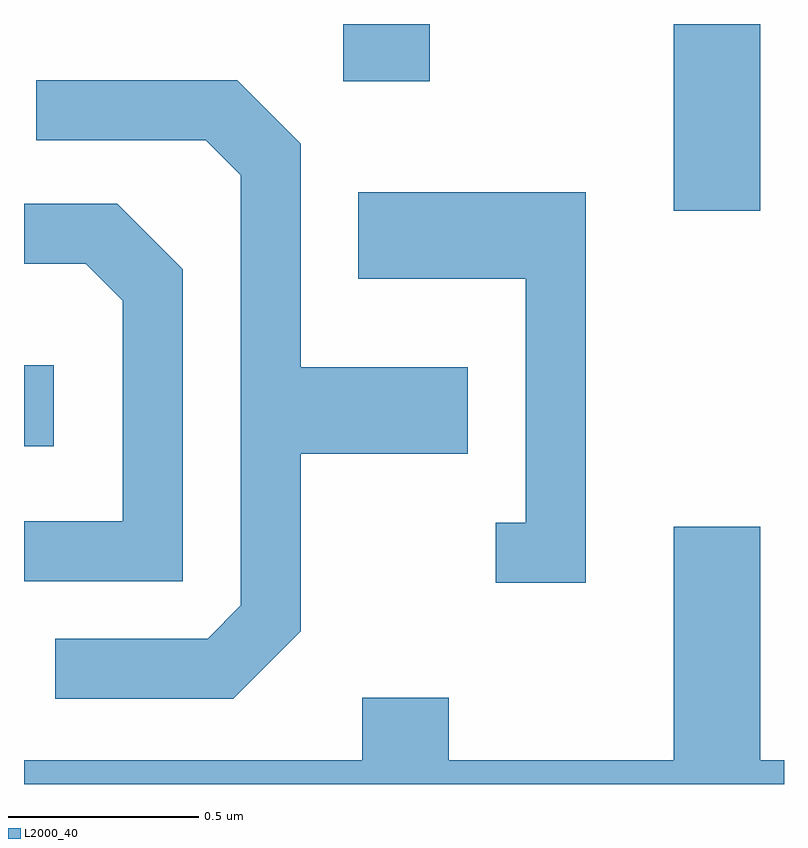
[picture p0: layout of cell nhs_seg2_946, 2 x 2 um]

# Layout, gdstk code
import gdstk
lib = gdstk.Library(unit=1e-6, precision=1e-09)
def R(c, l, rs):  # rectangles x0, y0, x1, y1
    for r in rs: c.add(gdstk.rectangle(r[:2], r[2:], *l))
def P(c, l, *ps):  # polygons
    for p in ps: c.add(gdstk.Polygon(p, *l))
L2000_40 = (2000, 40)

nhs_seg2_946 = lib.new_cell('nhs_seg2_946')
R(nhs_seg2_946, L2000_40, [(191.611,1102.691,191.689,1102.904), (193.321,1103.311,193.549,1103.802), (192.451,1103.651,192.679,1103.802)])
P(nhs_seg2_946, L2000_40, [(192.339,1102.204),(192.339,1102.671),(192.779,1102.671),(192.779,1102.899),(192.339,1102.899),(192.339,1103.487),(192.172,1103.654),(191.643,1103.654),(191.643,1103.496),(192.089,1103.496),(192.181,1103.404),(192.181,1102.272),(192.094,1102.184),(191.693,1102.184),(191.693,1102.026),(192.162,1102.026)],
  [(193.089,1103.359),(192.491,1103.359),(192.491,1103.131),(192.931,1103.131),(192.931,1102.489),(192.853,1102.489),(192.853,1102.331),(193.089,1102.331)],
  [(192.029,1103.157),(191.857,1103.329),(191.611,1103.329),(191.611,1103.171),(191.774,1103.171),(191.871,1103.074),(191.871,1102.494),(191.611,1102.494),(191.611,1102.336),(192.029,1102.336)],
  [(193.611,1101.864),(193.549,1101.864),(193.549,1102.479),(193.321,1102.479),(193.321,1101.864),(192.729,1101.864),(192.729,1102.029),(192.501,1102.029),(192.501,1101.864),(191.611,1101.864),(191.611,1101.802),(193.611,1101.802)])

lib.write_gds('nhs_seg2_946.gds')
